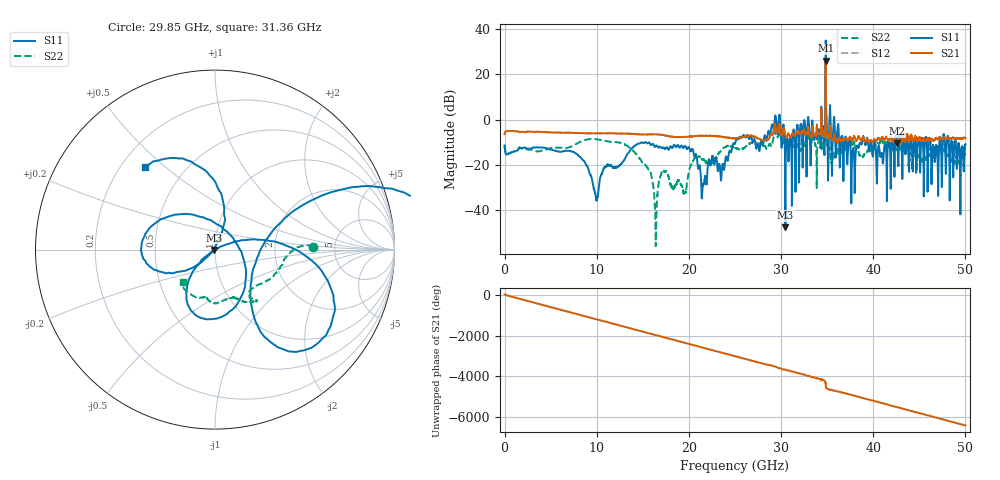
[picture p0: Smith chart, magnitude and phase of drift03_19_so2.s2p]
!Created with skrf (http://scikit-rf.org).
# Hz S RI R 50.0
!freq ReS11 ImS11 ReS21 ImS21 ReS12 ImS12 ReS22 ImS22
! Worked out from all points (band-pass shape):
!   10001 points, 300 kHz to 50 GHz, reference 50 ohm
!   highest |S21| = 26.09 dB at 34.85 GHz (marker M1); lowest = -10.4 dB at 42.55 GHz (marker M2)
!   |S21| within 3 dB of the highest: 34.84376 GHz to 34.84621 GHz (2.46 MHz wide, 0.00706 % of centre)
!   lowest |S11| = -47.6 dB at 30.47 GHz (marker M3), VSWR 1.01, Z = 49.7 - j0.245 ohm
!   |S11| at or under -10 dB: start of sweep to 15.22 GHz; 15.32 GHz to 25.05 GHz (9.733 GHz wide, 48.2 % of centre); 40.22 GHz to 41.64 GHz (1.423 GHz wide, 3.48 % of centre) (the widest 3 of 53)
!   |S22| runs from -56.0 to 17.2 dB; largest |S21 - S12| = 2.9
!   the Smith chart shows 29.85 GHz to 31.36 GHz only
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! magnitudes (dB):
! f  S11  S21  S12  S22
! 300 kHz  -11.4  -6.5  -6.5  -11.4
! 8.335 GHz  -17.1  -6.0  -6.0  -9.6
! 9.955 GHz  -35.5  -6.1  -6.1  -8.7
! 11 GHz  -20.9  -6.0  -6.1  -9.5
! 15.53 GHz  -10.5  -6.6  -6.6  -21.5
! 16.37 GHz  -11.9  -6.5  -6.5  -46.2
! 16.67 GHz  -12.4  -6.6  -6.5  -29.4
! 17.32 GHz  -12.7  -6.9  -6.9  -22.8
! 19.54 GHz  -11.7  -7.7  -7.7  -32.4
! 20.22 GHz  -13.9  -7.5  -7.5  -20.2
! 21.55 GHz  -28.3  -7.2  -7.2  -17.8
! 25 GHz  -10.6  -8.3  -8.3  -12.5
! 29.6 GHz  -5.6  -5.7  -5.9  -7.8
! 30.47 GHz  -47.6  -7.2  -7.2  -9.1
! 33.34 GHz  -3.8  -6.8  -6.8  -9.4
! 34.85 GHz  35.0  26.1  25.9  17.2
! 35.63 GHz  -6.5  -9.2  -9.1  -16.1
! 37.82 GHz  -12.8  -8.4  -8.4  -10.2
! 38.81 GHz  -9.4  -8.3  -8.3  -16.1
! 41.67 GHz  -9.6  -9.5  -9.4  -11.4
! 42.55 GHz  -8.3  -10.4  -10.4  -13.1
! 50 GHz  -10.8  -8.1  -8.2  -15.5
